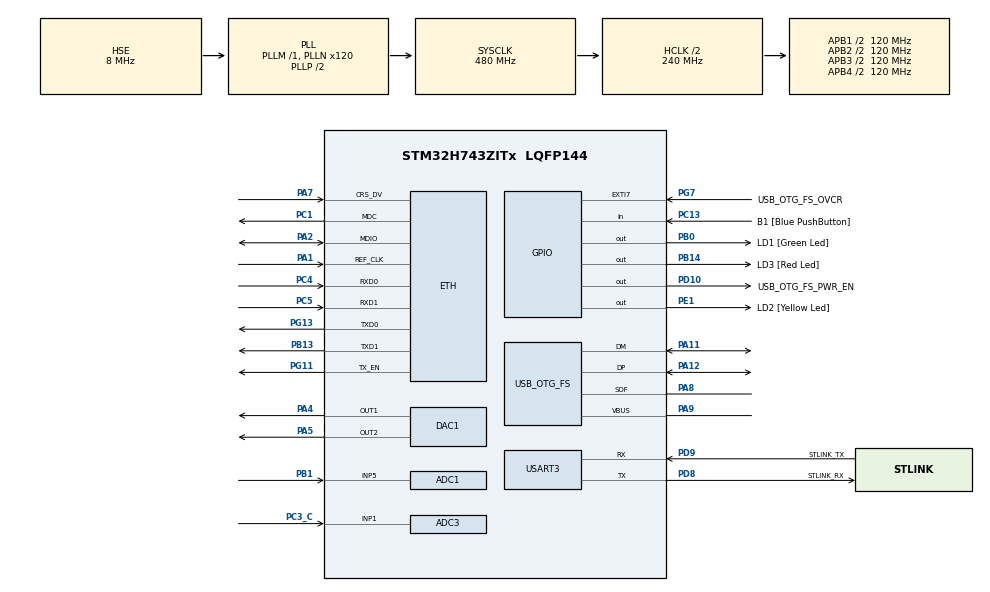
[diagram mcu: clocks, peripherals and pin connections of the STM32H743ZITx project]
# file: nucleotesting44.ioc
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ADC1.Channel-0\#ChannelRegularConversion=ADC_CHANNEL_5
ADC1.ClockPrescaler=ADC_CLOCK_ASYNC_DIV8
ADC1.ContinuousConvMode=ENABLE
ADC1.ConversionDataManagement=ADC_CONVERSIONDATA_DMA_CIRCULAR
ADC1.EnableAnalogWatchDog1=false
ADC1.EnableAnalogWatchDog2=false
ADC1.EnableAnalogWatchDog3=false
ADC1.ExternalTrigConv=ADC_EXTERNALTRIG_T1_TRGO2
ADC1.NbrOfConversion=1
ADC1.NbrOfConversionFlag=1
ADC1.OffsetNumber-0\#ChannelRegularConversion=ADC_OFFSET_NONE
ADC1.OffsetSignedSaturation-0\#ChannelRegularConversion=DISABLE
ADC1.Rank-0\#ChannelRegularConversion=1
ADC1.Resolution=ADC_RESOLUTION_16B
ADC1.SamplingTime-0\#ChannelRegularConversion=ADC_SAMPLETIME_1CYCLE_5
ADC1.master=1
ADC3.Channel-0\#ChannelRegularConversion=ADC_CHANNEL_1
ADC3.ClockPrescaler=ADC_CLOCK_ASYNC_DIV8
ADC3.ContinuousConvMode=ENABLE
ADC3.ConversionDataManagement=ADC_CONVERSIONDATA_DMA_CIRCULAR
ADC3.ExternalTrigConv=ADC_EXTERNALTRIG_T1_TRGO2
ADC3.NbrOfConversionFlag=1
ADC3.OffsetNumber-0\#ChannelRegularConversion=ADC_OFFSET_NONE
ADC3.OffsetSignedSaturation-0\#ChannelRegularConversion=DISABLE
ADC3.Rank-0\#ChannelRegularConversion=1
ADC3.SamplingTime-0\#ChannelRegularConversion=ADC_SAMPLETIME_1CYCLE_5
DAC1.DAC_Channel-DAC_OUT1=DAC_CHANNEL_1
DAC1.DAC_Channel-DAC_OUT2=DAC_CHANNEL_2
DAC1.DAC_Trigger-DAC_OUT1=DAC_TRIGGER_T2_TRGO
DAC1.DAC_Trigger-DAC_OUT2=DAC_TRIGGER_T2_TRGO
Dma.ADC1.0.Direction=DMA_PERIPH_TO_MEMORY
Dma.ADC1.0.EventEnable=ENABLE
Dma.ADC1.0.FIFOMode=DMA_FIFOMODE_DISABLE
Dma.ADC1.0.Instance=DMA1_Stream0
Dma.ADC1.0.MemDataAlignment=DMA_MDATAALIGN_HALFWORD
Dma.ADC1.0.MemInc=DMA_MINC_ENABLE
Dma.ADC1.0.Mode=DMA_CIRCULAR
Dma.ADC1.0.PeriphDataAlignment=DMA_PDATAALIGN_HALFWORD
Dma.ADC1.0.PeriphInc=DMA_PINC_DISABLE
Dma.ADC1.0.Polarity=HAL_DMAMUX_REQ_GEN_RISING
Dma.ADC1.0.Priority=DMA_PRIORITY_LOW
Dma.ADC1.0.RequestNumber=1
Dma.ADC1.0.SignalID=NONE
Dma.ADC1.0.SyncEnable=ENABLE
Dma.ADC1.0.SyncPolarity=HAL_DMAMUX_SYNC_RISING
Dma.ADC1.0.SyncRequestNumber=1
Dma.ADC1.0.SyncSignalID=NONE
Dma.ADC3.3.Direction=DMA_PERIPH_TO_MEMORY
Dma.ADC3.3.EventEnable=DISABLE
Dma.ADC3.3.FIFOMode=DMA_FIFOMODE_DISABLE
Dma.ADC3.3.Instance=DMA1_Stream1
Dma.ADC3.3.MemDataAlignment=DMA_MDATAALIGN_HALFWORD
Dma.ADC3.3.MemInc=DMA_MINC_ENABLE
Dma.ADC3.3.Mode=DMA_CIRCULAR
Dma.ADC3.3.PeriphDataAlignment=DMA_PDATAALIGN_HALFWORD
Dma.ADC3.3.PeriphInc=DMA_PINC_DISABLE
Dma.ADC3.3.Polarity=HAL_DMAMUX_REQ_GEN_RISING
Dma.ADC3.3.Priority=DMA_PRIORITY_LOW
Dma.ADC3.3.RequestNumber=1
Dma.ADC3.3.SignalID=NONE
Dma.ADC3.3.SyncEnable=ENABLE
Dma.ADC3.3.SyncPolarity=HAL_DMAMUX_SYNC_RISING
Dma.ADC3.3.SyncRequestNumber=1
Dma.ADC3.3.SyncSignalID=HAL_DMAMUX1_SYNC_DMAMUX1_CH0_EVT
Dma.DAC1_CH1.1.Direction=DMA_MEMORY_TO_PERIPH
Dma.DAC1_CH1.1.EventEnable=DISABLE
Dma.DAC1_CH1.1.FIFOMode=DMA_FIFOMODE_DISABLE
Dma.DAC1_CH1.1.Instance=DMA2_Stream0
Dma.DAC1_CH1.1.MemDataAlignment=DMA_MDATAALIGN_WORD
Dma.DAC1_CH1.1.MemInc=DMA_MINC_ENABLE
Dma.DAC1_CH1.1.Mode=DMA_CIRCULAR
Dma.DAC1_CH1.1.PeriphDataAlignment=DMA_PDATAALIGN_WORD
Dma.DAC1_CH1.1.PeriphInc=DMA_PINC_DISABLE
Dma.DAC1_CH1.1.Polarity=HAL_DMAMUX_REQ_GEN_RISING
Dma.DAC1_CH1.1.Priority=DMA_PRIORITY_HIGH
Dma.DAC1_CH1.1.RequestNumber=1
Dma.DAC1_CH1.1.SignalID=NONE
Dma.DAC1_CH1.1.SyncEnable=DISABLE
Dma.DAC1_CH1.1.SyncPolarity=HAL_DMAMUX_SYNC_NO_EVENT
Dma.DAC1_CH1.1.SyncRequestNumber=1
Dma.DAC1_CH1.1.SyncSignalID=NONE
Dma.DAC1_CH2.2.Direction=DMA_MEMORY_TO_PERIPH
Dma.DAC1_CH2.2.EventEnable=DISABLE
Dma.DAC1_CH2.2.FIFOMode=DMA_FIFOMODE_DISABLE
Dma.DAC1_CH2.2.Instance=DMA2_Stream1
Dma.DAC1_CH2.2.MemDataAlignment=DMA_MDATAALIGN_WORD
Dma.DAC1_CH2.2.MemInc=DMA_MINC_ENABLE
Dma.DAC1_CH2.2.Mode=DMA_CIRCULAR
Dma.DAC1_CH2.2.PeriphDataAlignment=DMA_PDATAALIGN_WORD
Dma.DAC1_CH2.2.PeriphInc=DMA_PINC_DISABLE
Dma.DAC1_CH2.2.Polarity=HAL_DMAMUX_REQ_GEN_RISING
Dma.DAC1_CH2.2.Priority=DMA_PRIORITY_HIGH
Dma.DAC1_CH2.2.RequestNumber=1
Dma.DAC1_CH2.2.SignalID=NONE
Dma.DAC1_CH2.2.SyncEnable=DISABLE
Dma.DAC1_CH2.2.SyncPolarity=HAL_DMAMUX_SYNC_NO_EVENT
Dma.DAC1_CH2.2.SyncRequestNumber=1
Dma.DAC1_CH2.2.SyncSignalID=NONE
Dma.Request0=ADC1
Dma.Request1=DAC1_CH1
Dma.Request2=DAC1_CH2
Dma.Request3=ADC3
ETH.MediaInterface=HAL_ETH_RMII_MODE
Mcu.Family=STM32H7
Mcu.Name=STM32H743ZITx
Mcu.Package=LQFP144
NVIC.DMA1_Stream0_IRQn=true\:0\:0\:false\:false\:true\:false\:true
NVIC.DMA1_Stream1_IRQn=true\:0\:0\:false\:false\:true\:false\:true
NVIC.DMA2_Stream0_IRQn=true\:0\:0\:false\:false\:true\:false\:true
NVIC.DMA2_Stream1_IRQn=true\:0\:0\:false\:false\:true\:false\:true
NVIC.DMAMUX1_OVR_IRQn=true\:0\:0\:false\:false\:true\:false\:true
NVIC.OTG_FS_IRQn=true\:0\:0\:false\:false\:true\:false\:true
NVIC.PriorityGroup=NVIC_PRIORITYGROUP_4
PA1.Mode=RMII
PA1.Signal=ETH_REF_CLK
PA11.Mode=Device_Only
PA11.Signal=USB_OTG_FS_DM
PA12.Mode=Device_Only
PA12.Signal=USB_OTG_FS_DP
PA2.Mode=RMII
PA2.Signal=ETH_MDIO
PA4.Signal=COMP_DAC11_group
PA5.Signal=COMP_DAC12_group
PA7.Mode=RMII
PA7.Signal=ETH_CRS_DV
PA8.Mode=Activate_SOF_FS
PA8.Signal=USB_OTG_FS_SOF
PA9.Mode=Activate_VBUS
PA9.Signal=USB_OTG_FS_VBUS
PB0.GPIO_Label=LD1 [Green Led]
PB0.Signal=GPIO_Output
PB1.Signal=ADCx_INP5
PB13.Mode=RMII
PB13.Signal=ETH_TXD1
PB14.GPIO_Label=LD3 [Red Led]
PB14.Signal=GPIO_Output
PC1.Mode=RMII
PC1.Signal=ETH_MDC
PC13.GPIO_Label=B1 [Blue PushButton]
PC13.Signal=GPIO_Input
PC14-OSC32_IN\ (OSC32_IN).Mode=LSE-External-Oscillator
PC14-OSC32_IN\ (OSC32_IN).Signal=RCC_OSC32_IN
PC15-OSC32_OUT\ (OSC32_OUT).Mode=LSE-External-Oscillator
PC15-OSC32_OUT\ (OSC32_OUT).Signal=RCC_OSC32_OUT
PC3_C.Mode=IN1-Single-Ended
PC3_C.Signal=ADC3_INP1
PC4.Mode=RMII
PC4.Signal=ETH_RXD0
PC5.Mode=RMII
PC5.Signal=ETH_RXD1
PD10.GPIO_Label=USB_OTG_FS_PWR_EN
PD10.Signal=GPIO_Output
PD8.GPIO_Label=STLINK_RX
PD8.Mode=Asynchronous
PD8.Signal=USART3_TX
PD9.GPIO_Label=STLINK_TX
PD9.Mode=Asynchronous
PD9.Signal=USART3_RX
PE1.GPIO_Label=LD2 [Yellow Led]
PE1.Signal=GPIO_Output
PG11.Mode=RMII
PG11.Signal=ETH_TX_EN
PG13.Mode=RMII
PG13.Signal=ETH_TXD0
PG7.GPIO_Label=USB_OTG_FS_OVCR
PG7.Signal=GPXTI7
PH0-OSC_IN\ (PH0).Mode=HSE-External-Clock-Source
PH0-OSC_IN\ (PH0).Signal=RCC_OSC_IN
PH1-OSC_OUT\ (PH1).Signal=RCC_OSC_OUT
ProjectManager.HeapSize=0x200
ProjectManager.StackSize=0x400
ProjectManager.TargetToolchain=STM32CubeIDE
RCC.ADCFreq_Value=50000000
RCC.APB1Freq_Value=120000000
RCC.APB2Freq_Value=120000000
RCC.APB3Freq_Value=120000000
RCC.APB4Freq_Value=120000000
RCC.CortexFreq_Value=480000000
RCC.D1PPRE=RCC_APB3_DIV2
RCC.D2PPRE1=RCC_APB1_DIV2
RCC.D2PPRE2=RCC_APB2_DIV2
RCC.D3PPRE=RCC_APB4_DIV2
RCC.DIVM1=1
RCC.DIVM2=1
RCC.DIVN1=120
RCC.DIVN2=18
RCC.DIVP2=3
RCC.DIVQ1=20
RCC.HCLKFreq_Value=240000000
RCC.HPRE=RCC_HCLK_DIV2
RCC.HSE_VALUE=8000000
RCC.PLL2FRACN=6144
RCC.PLL3FRACN=0
RCC.PLLFRACN=0
RCC.PWR_Regulator_Voltage_Scale=PWR_REGULATOR_VOLTAGE_SCALE0
RCC.SYSCLKFreq_VALUE=480000000
RCC.SYSCLKSource=RCC_SYSCLKSOURCE_PLLCLK
RCC.USBFreq_Value=48000000
SH.ADCx_INP5.0=ADC1_INP5,IN5-Single-Ended
SH.COMP_DAC11_group.0=DAC1_OUT1,DAC_OUT1
SH.COMP_DAC12_group.0=DAC1_OUT2,DAC_OUT2
TIM1.Period=770
TIM1.Prescaler=0
TIM1.TIM_MasterOutputTrigger=TIM_TRGO_UPDATE
TIM1.TIM_MasterOutputTrigger2=TIM_TRGO2_UPDATE
TIM2.Period=770
TIM2.TIM_MasterOutputTrigger=TIM_TRGO_UPDATE
USART3.VirtualMode-Asynchronous=VM_ASYNC
USB_DEVICE.CLASS_NAME_FS=CDC
USB_DEVICE.USBD_DEBUG_LEVEL-CDC_FS=0
USB_DEVICE.VirtualMode-CDC_FS=Cdc
USB_DEVICE.VirtualModeFS=Cdc_FS
USB_OTG_FS.VirtualMode=Device_Only
VP_TIM1_VS_ClockSourceINT.Mode=Internal
VP_TIM2_VS_ClockSourceINT.Mode=Internal
VP_USB_DEVICE_VS_USB_DEVICE_CDC_FS.Mode=CDC_FS
board=NUCLEO-H743ZI2

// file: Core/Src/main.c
/* USER CODE BEGIN Header */
/**
  ******************************************************************************
  * @file           : main.c
  * @brief          : Main program body
  ******************************************************************************
  * @attention
  *
  * <h2><center>&copy; Copyright (c) 2021 STMicroelectronics.
  * All rights reserved.</center></h2>
  *
  * This software component is licensed by ST under BSD 3-Clause license,
  * the "License"; You may not use this file except in compliance with the
  * License. You may obtain a copy of the License at:
  *                        opensource.org/licenses/BSD-3-Clause
  *
  ******************************************************************************
  */
/* USER CODE END Header */
#include "main.h"
#include "string.h"
#include "usb_device.h"

/* USER CODE BEGIN Includes */
#define ADC_CONVERTED_DATA_BUFFER_SIZE   ((uint32_t)  32767)
#define TEST_LENGTH_SAMPLES ((uint32_t) 2048)
#define BUF_SIZE 4096
#define UINT16_OFFSET 32768
#define SHORT_MAX 32767
#define FFT_SIZE 2048
#define SAMPLERATE 312500
#define DECIMATION_FACTOR 3

#define SNR_THRESHOLD_F32    75.0f
#define BLOCK_SIZE            64
#if defined(ARM_MATH_MVEF) && !defined(ARM_MATH_AUTOVECTORIZE)
/* Must be a multiple of 16 */
#define NUM_TAPS_ARRAY_SIZE              32
#else
#define NUM_TAPS_ARRAY_SIZE              61
#endif
#define NUM_TAPS              60

#include "math.h"
#include "usbd_cdc_if.h"
#include "complex.h"
#include "arm_math.h"
#include "arm_const_structs.h"

#include "../../Drivers/gnu-ais/callbacks.h"
#include "../../Drivers/gnu-ais/filter.h"
#include "../../Drivers/gnu-ais/hmalloc.h"
#include "../../Drivers/gnu-ais/protodec.h"
#include "../../Drivers/gnu-ais/receiver.h"

/* USER CODE END Includes */

#if defined ( __ICCARM__ ) /*!< IAR Compiler */

#pragma location=0x30040000
ETH_DMADescTypeDef  DMARxDscrTab[ETH_RX_DESC_CNT]; /* Ethernet Rx DMA Descriptors */
#pragma location=0x30040060
ETH_DMADescTypeDef  DMATxDscrTab[ETH_TX_DESC_CNT]; /* Ethernet Tx DMA Descriptors */
#pragma location=0x300400c0
uint8_t Rx_Buff[ETH_RX_DESC_CNT][ETH_MAX_PACKET_SIZE]; /* Ethernet Receive Buffers */

#elif defined ( __CC_ARM )  /* MDK ARM Compiler */

__attribute__((at(0x30040000))) ETH_DMADescTypeDef  DMARxDscrTab[ETH_RX_DESC_CNT]; /* Ethernet Rx DMA Descriptors */
__attribute__((at(0x30040060))) ETH_DMADescTypeDef  DMATxDscrTab[ETH_TX_DESC_CNT]; /* Ethernet Tx DMA Descriptors */
__attribute__((at(0x300400c0))) uint8_t Rx_Buff[ETH_RX_DESC_CNT][ETH_MAX_PACKET_SIZE]; /* Ethernet Receive Buffer */

#elif defined ( __GNUC__ ) /* GNU Compiler */

ETH_DMADescTypeDef DMARxDscrTab[ETH_RX_DESC_CNT] __attribute__((section(".RxDecripSection"))); /* Ethernet Rx DMA Descriptors */
ETH_DMADescTypeDef DMATxDscrTab[ETH_TX_DESC_CNT] __attribute__((section(".TxDecripSection")));   /* Ethernet Tx DMA Descriptors */
uint8_t Rx_Buff[ETH_RX_DESC_CNT][ETH_MAX_PACKET_SIZE] __attribute__((section(".RxArraySection"))); /* Ethernet Receive Buffers */

#endif

ETH_TxPacketConfig TxConfig;
ADC_HandleTypeDef hadc1;
ADC_HandleTypeDef hadc3;
DMA_HandleTypeDef hdma_adc1;
DMA_HandleTypeDef hdma_adc3;

DAC_HandleTypeDef hdac1;
DMA_HandleTypeDef hdma_dac1_ch1;
DMA_HandleTypeDef hdma_dac1_ch2;

ETH_HandleTypeDef heth;

TIM_HandleTypeDef htim1;
TIM_HandleTypeDef htim2;

UART_HandleTypeDef huart3;

/* USER CODE BEGIN PV */
ALIGN_32BYTES (static uint16_t   aADC1ConvertedData[ADC_CONVERTED_DATA_BUFFER_SIZE]);
ALIGN_32BYTES (static uint16_t   aADC3ConvertedData[ADC_CONVERTED_DATA_BUFFER_SIZE]);
ALIGN_32BYTES (static int16_t 	 adc1_data[ADC_CONVERTED_DATA_BUFFER_SIZE]); //I signal
ALIGN_32BYTES (static int16_t 	 adc3_data[ADC_CONVERTED_DATA_BUFFER_SIZE]); //Q signal
ALIGN_32BYTES (static int16_t 	 adc1_datafir[ADC_CONVERTED_DATA_BUFFER_SIZE]); //I signal
ALIGN_32BYTES (static int16_t	 adc3_datafir[ADC_CONVERTED_DATA_BUFFER_SIZE]); //Q signal

static struct receiver *rx_a = NULL;
/* USER CODE END PV */

void SystemClock_Config(void);
void PeriphCommonClock_Config(void);
static void MX_GPIO_Init(void);
static void MX_ETH_Init(void);
static void MX_DMA_Init(void);
static void MX_ADC1_Init(void);
static void MX_DAC1_Init(void);
static void MX_TIM1_Init(void);
static void MX_ADC3_Init(void);
static void MX_USART3_UART_Init(void);
static void MX_TIM2_Init(void);

/* USER CODE BEGIN 0 */

char *data = "Hello world\n"; //a must have

char buffer[64];

static q31_t testOutput[FFT_SIZE*2];

uint32_t fftSize = FFT_SIZE;
uint32_t ifftFlag = 0;		// regular FFT
uint32_t doBitReverse = 1;  // reverse bit to output.

uint32_t refIndex = 213, testIndex = 0;

//extern uint16_t mysine[1500]; //sine signal for testing

//extern uint32_t myAISIdac[1500]; //AIS I signal for dac channel 1
//extern uint32_t myAISQdac[1500]; //AIS Q signal for dac channel 2
extern uint32_t realdataI[3000]; //AIS I signal for dac channel 1
extern uint32_t realdataQ[3000]; //AIS Q signal for dac channel 2
/* extern uint16_t myAISI[1290];	//AIS signal for testing
   extern uint16_t myAISQ[1290];	//AIS signal for testing
*/
float64_t temp_I = 0;
float64_t temp_Q = 0;

static complex complex_data;
static complex prev_complex;
static complex temp_complex;
static int16_t demodulated_IQ[ADC_CONVERTED_DATA_BUFFER_SIZE];

uint32_t prim;
q31_t maxValue;

uint32_t blockSize = BLOCK_SIZE;
uint32_t numBlocks = ADC_CONVERTED_DATA_BUFFER_SIZE/BLOCK_SIZE/2;
float32_t  snr;

//fir stuff

extern q15_t firCoeff025[NUM_TAPS_ARRAY_SIZE];
extern q15_t firCoeff001[NUM_TAPS_ARRAY_SIZE];
extern q15_t firCoeffhighpass[NUM_TAPS_ARRAY_SIZE];

static q15_t firState1[BLOCK_SIZE + NUM_TAPS - 0];
static q15_t firState2[BLOCK_SIZE + NUM_TAPS - 0];
static q15_t firState3[BLOCK_SIZE + NUM_TAPS - 0];

arm_fir_instance_q15 firS;
arm_fir_instance_q15 firS2;
arm_fir_instance_q15 firS3;

float32_t  *firInput, *firOutput;

/* USER CODE END 0 */

int main(void)
{
  /* USER CODE BEGIN 1 */

	//arm_status status;
	//status = ARM_MATH_SUCCESS;

  /* USER CODE END 1 */

  /* MCU Configuration--------------------------------------------------------*/

  /* Reset of all peripherals, Initializes the Flash interface and the Systick. */
  HAL_Init();

  /* Configure the system clock */
  SystemClock_Config();

/* Configure the peripherals common clocks */
  PeriphCommonClock_Config();

  /* Initialize all configured peripherals */
  MX_GPIO_Init();
  MX_ETH_Init();
  MX_DMA_Init();
  MX_ADC1_Init();
  MX_DAC1_Init();
  MX_TIM1_Init();
  MX_ADC3_Init();
  MX_USART3_UART_Init();
  MX_USB_DEVICE_Init();
  MX_TIM2_Init();
  /* USER CODE BEGIN 2 */

  float32_t radians;
  float32_t sineval;
  uint16_t startflag1;
  uint16_t endflag1;
  int16_t meanvalue1;
  int16_t meanvalue3;
  int16_t temporary_value = 3000;
  int16_t decimate;
  int32_t mix_freq;
  rx_a = init_receiver('A', 1, 0, 0); // initialize receiver

  char stringBuf[100];
  q31_t data_Buffer[FFT_SIZE*2] = {0};
  arm_fir_init_q15(&firS, NUM_TAPS, firCoeff025, firState1, blockSize);
  arm_fir_init_q15(&firS2, NUM_TAPS, firCoeff001, firState2, blockSize);
  arm_fir_init_q15(&firS3, NUM_TAPS, firCoeffhighpass, firState3, blockSize);

  // start ADCs. Saves data to aADCxConvertedData

	  if (HAL_ADC_Start_DMA(&hadc1,
	                          (uint32_t *)aADC1ConvertedData,
	                          ADC_CONVERTED_DATA_BUFFER_SIZE
	                         ) != HAL_OK)
	    {
	      Error_Handler(); //does nothing-> TODO: error handler
	    }
	  if (HAL_ADC_Start_DMA(&hadc3,
	                        (uint32_t *)aADC3ConvertedData,
	                        ADC_CONVERTED_DATA_BUFFER_SIZE
	                       ) != HAL_OK)
	  {
	    Error_Handler(); //does nothing-> TODO: error handler
	  }

	  HAL_TIM_Base_Start(&htim1);

	  // start DACs. Takes 12b data, does not like 16b :( .

	  if (HAL_DAC_Start_DMA(&hdac1,
			  	  	    DAC_CHANNEL_2,
						    //(uint32_t *)aADCxConvertedData,
							//ADC_CONVERTED_DATA_BUFFER_SIZE/2,
							(uint32_t *)realdataI,
							6000,
							DAC_ALIGN_12B_R)
			  	  	    != HAL_OK)
	  {
		  Error_Handler();
	  }
	  if (HAL_DAC_Start_DMA(&hdac1,
			  	  	    DAC_CHANNEL_1,
						    //(uint32_t *)aADCxConvertedData,
							//ADC_CONVERTED_DATA_BUFFER_SIZE/2,
							(uint32_t *)realdataQ,
							6000,
							DAC_ALIGN_12B_R)
			  	  	    != HAL_OK)
	  {
		  Error_Handler();
	  }

	  HAL_TIM_Base_Start(&htim2);
	  HAL_Delay(1000);
  /* USER CODE END 2 */

  /* Infinite loop */
  while (1)
  {

    /* USER CODE BEGIN 3 */

	  memset(stringBuf, '\0', 100);
	  memset(data_Buffer, 0, FFT_SIZE*sizeof(q31_t)*2);
	  memset(testOutput, 0, FFT_SIZE*sizeof(q31_t)*2);
	  prev_complex = 0;
	  complex_data = 0;
	  temp_complex = 0;
	  temp_I = 0;
	  temp_Q = 0;
	  startflag1 = 150;
	  endflag1 = 3000;
	  meanvalue1 = 0;
	  meanvalue3 = 0;
	  mix_freq = 0;
	  prim = __get_PRIMASK();
	  __disable_irq();

	  // cast uint16->int16

	  for(uint16_t i = 1; i<ADC_CONVERTED_DATA_BUFFER_SIZE; i++){
		  adc1_data[i] = swap_bytes(adc1_data[i]);
		  //adc1_data[i] = (realdataI[i] - 2048) * 16;
		  //adc1_data[i] = realdataI[i];
		  //adc3_data[i] = realdataQ[i];
		  adc3_data[i] = swap_bytes(adc3_data[i]);
		  //adc3_data[i] = (realdataQ[i] - 2048) * 16;
	  }
	  //remove zero spike

	  arm_mean_q15 (adc1_data, ADC_CONVERTED_DATA_BUFFER_SIZE, &meanvalue1);
	  //arm_mean_q15 (adc1_data, temporary_value, &meanvalue1);
	  arm_mean_q15 (adc3_data, ADC_CONVERTED_DATA_BUFFER_SIZE, &meanvalue3);
	  //arm_mean_q15 (adc3_data, temporary_value, &meanvalue3);

	  //for(uint16_t i =0;i<temporary_value;i++){
	  for(uint16_t i =0; i< ADC_CONVERTED_DATA_BUFFER_SIZE; i++){
			  adc1_data[i] -= meanvalue1;
			  adc1_data[i] *= 16; //multiply with arbitrary value
			  adc3_data[i] -= meanvalue3;
			  adc3_data[i] *= 16;
	  }

	  // find peak frequency
	  for(uint16_t i = 0; i<ADC_CONVERTED_DATA_BUFFER_SIZE; i+=FFT_SIZE*2){
		  //for(uint16_t i = 0; i<temporary_value; i+=FFT_SIZE*2){

		  //save data to buffer, use 32bit values shifted left 16 bits because that helps.
		  for(uint16_t j = 0; j < FFT_SIZE*2; j++){
			  data_Buffer[j] = (adc1_data[i+j]<<16);// - UINT16_OFFSET )/(UINT16_OFFSET);
			  j++;
			  data_Buffer[j] = (adc3_data[i+j]<<16); //data_Buffer[j] = (adc3_data[i+j]<<16);// - UINT16_OFFSET )/(UINT16_OFFSET);
		  }

		  //fft from buffered data
		  arm_cfft_q31(&arm_cfft_sR_q31_len2048, data_Buffer, ifftFlag, doBitReverse);
		  arm_cmplx_mag_q31(data_Buffer, testOutput, FFT_SIZE);

		  //max value and index of said max value
		  arm_max_q31(testOutput, fftSize, &maxValue, &testIndex);

		  //calculate peak freq
		  if(testIndex > FFT_SIZE/2){ //on right plane ->  get negative value
			  mix_freq = (int32_t)(testIndex * ((SAMPLERATE/2) / FFT_SIZE) % (SAMPLERATE/2)) - SAMPLERATE/2;
		  }else{ //on left plane
			  mix_freq = testIndex * (SAMPLERATE/2) / FFT_SIZE;
		  }

		  //peak expected around 25 kHz, check if mix_freq has valid value.
		  if((mix_freq < 90000 && mix_freq >20000 ) || (mix_freq >-90000 && mix_freq < -20000)){
			  break;
		  }else{
			  mix_freq = 0;
			  memset(testOutput, 0, FFT_SIZE*sizeof(q31_t)*2);
		  }
	  }
	  //downmixing

	  if(mix_freq != 0){

		  //smix_freq=-54253;
	    for(uint16_t i = 0; i<ADC_CONVERTED_DATA_BUFFER_SIZE; i++){
			  radians = ((mix_freq/((float32_t)SAMPLERATE)) *2*M_PI*i);
			  sineval = arm_sin_f32(radians); 		//move to positive values only
			  adc1_data[i] =(adc1_data[i])*sineval; //adc1_data[i] =(adc1_data[i])*sineval; //-UINT16_OFFSET)*sineval + UINT16_OFFSET;
			  adc3_data[i] =(adc3_data[i])*sineval; //adc3_data[i] =(adc3_data[i])*sineval; //-UINT16_OFFSET)*sineval + UINT16_OFFSET;
		  }
	  }
	  //lowpass
	  for(int i=0; i < numBlocks; i++)
	  {
		  arm_fir_q15(&firS, adc1_data+i*blockSize, adc1_datafir+i*blockSize, blockSize);//arm_fir_q15(&firS, adc1_data+i*blockSize, adc1_datafir+i*blockSize, blockSize);
	  }
	  for(int i=0; i < numBlocks; i++)
	  {
		  arm_fir_q15(&firS, adc3_data+i*blockSize, adc3_datafir+i*blockSize, blockSize);//arm_fir_q15(&firS, adc3_data+i*blockSize, adc3_datafir+i*blockSize, blockSize);
	  }

	  // demodulate signal in adc1_datafir and adc3_datafir, saved to demodulated_IQ
	  gmsk_demod(0, ADC_CONVERTED_DATA_BUFFER_SIZE, demodulated_IQ);
	  // gmsk_demod(0, temporary_value, demodulated_IQ);
	  // last filtering with 0.1 lowpass
	  for(int i=0; i < numBlocks; i++){
		  arm_fir_q15(&firS2, demodulated_IQ+i*blockSize, adc1_data+i*blockSize, blockSize);
	  }

	  demodulated_IQ[0]=0;

	  // get better data with log function
	  /*for(int i = 0; i<ADC_CONVERTED_DATA_BUFFER_SIZE; i++){
	  // for(int i = 0; i<temporary_value; i++){
		  	  if(adc1_data[i]<0){
				  adc1_data[i] = -1*log(abs(adc1_data[i])-1)*500;
		  	  }else{
				  adc1_data[i] = log(abs(adc1_data[i])-1)*500;
		  	  }

	  }*/
	  for(int i = 0; i<ADC_CONVERTED_DATA_BUFFER_SIZE/DECIMATION_FACTOR; i++){
		      adc1_data[i]=adc1_data[i*DECIMATION_FACTOR];
	  }
	  //receiver_run(rx_a, adc1_data, temporary_value);
	  for(int i = 0; i<ADC_CONVERTED_DATA_BUFFER_SIZE/DECIMATION_FACTOR; i+=1000){
		  	  receiver_run(rx_a, adc1_data+i*sizeof(int16_t), 1000);
	  }
	  //receiver_run(rx_a, adc1_data, 3000);

	  // from example arm_fft_bin.example.c:
	  /* Process the data through the CFFT/CIFFT module */
	  /*arm_cfft_f32(&arm_cfft_sR_f32_len2048, data_Buffer, ifftFlag, doBitReverse);
	  arm_cmplx_mag_f32(data_Buffer, testOutput, FFT_SIZE);
	  arm_max_f32(testOutput, fftSize, &maxValue, &testIndex);*/

	  //arm_rfft_fast_f32(&instance, data_Buffer, testOutput, 0);

	  // MATLAB compatible data transfer. Transfer as characters, MATLAB reads as correct data length.:
	  data = "flag data:\n";
	  HAL_UART_Transmit(&huart3, (uint8_t *)data, strlen(data), HAL_MAX_DELAY);
	  sprintf(stringBuf, "%d\n", startflag1 );
	  HAL_UART_Transmit(&huart3,  (uint8_t *)stringBuf, strlen(stringBuf), HAL_MAX_DELAY);
	  sprintf(stringBuf, "%d\n", endflag1 );
	  HAL_UART_Transmit(&huart3,  (uint8_t *)stringBuf, strlen(stringBuf), HAL_MAX_DELAY);
      data = "flag data end:\n";
	  HAL_UART_Transmit(&huart3, (uint8_t *)data, strlen(data), HAL_MAX_DELAY);

      data = "demod data:\n";
	  HAL_UART_Transmit(&huart3, (uint8_t *)data, strlen(data), HAL_MAX_DELAY);

	  //HAL_UART_Transmit(&huart3, (uint8_t *) demodulated_IQ,
	  	//		  	  1290*2, HAL_MAX_DELAY);
	  HAL_UART_Transmit(&huart3, (uint8_t *) adc1_data,
			  (ADC_CONVERTED_DATA_BUFFER_SIZE)/DECIMATION_FACTOR, HAL_MAX_DELAY);

	  data = "demod data end:\n";
	  HAL_UART_Transmit(&huart3, (uint8_t *)data, strlen(data), HAL_MAX_DELAY);

	  //transmit NMEA
	  sprintf(stringBuf, "freq: %ld, pre: %ld, start: %ld, rx_a PLL decoded data in NMEA format: %s \n",
			  mix_freq, rx_a->decoder->npreamble,rx_a->decoder->startsample,rx_a->decoder->nmea );
	  HAL_UART_Transmit(&huart3, (uint8_t *)stringBuf, strlen(stringBuf), HAL_MAX_DELAY);

	  //transmit FFT
	  /*data = "FFT data:\n";
	  HAL_UART_Transmit(&huart3, (uint8_t *)data, strlen(data), HAL_MAX_DELAY);

	  HAL_UART_Transmit(&huart3, (uint8_t *) testOutput,
			  	  	  	  FFT_SIZE*sizeof(q31_t), HAL_MAX_DELAY);

	  data = "FFT data end.\n";
	  HAL_UART_Transmit(&huart3, (uint8_t *)data, strlen(data), HAL_MAX_DELAY);
*/
	  //Transfer ADC data:
/*
	  data = "ADC1 data:\n";
	  HAL_UART_Transmit(&huart3, (uint8_t *)data, strlen(data), HAL_MAX_DELAY);

	  HAL_UART_Transmit(&huart3, (uint8_t *) adc1_datafir,
			  (ADC_CONVERTED_DATA_BUFFER_SIZE)/2, HAL_MAX_DELAY);
	  data = "ADC1 data end.\n";
	  HAL_UART_Transmit(&huart3, (uint8_t *)data, strlen(data), HAL_MAX_DELAY);

	  data = "ADC3 data:\n";
	  HAL_UART_Transmit(&huart3, (uint8_t *)data, strlen(data), HAL_MAX_DELAY);

	  HAL_UART_Transmit(&huart3, (uint8_t *) adc3_datafir,
			  (ADC_CONVERTED_DATA_BUFFER_SIZE)/2, HAL_MAX_DELAY);
	  data = "ADC3 data end.\n";
	  HAL_UART_Transmit(&huart3, (uint8_t *)data, strlen(data), HAL_MAX_DELAY);
*/
	  //delay because why not
	  //HAL_Delay(1000);
	  memset(demodulated_IQ, 0, ADC_CONVERTED_DATA_BUFFER_SIZE*sizeof(int16_t));

	  memset(rx_a->decoder->nmea, '\0', NMEABUFFER_LEN);
	  memset(&(rx_a->decoder->nstartsign), 0, sizeof(rx_a->decoder->nstartsign));
	  memset(&(rx_a->decoder->npreamble), 0, sizeof(rx_a->decoder->npreamble));
	  memset(&(rx_a->decoder->startsample), 0, sizeof(rx_a->decoder->startsample));
	  __enable_irq();

  }
  /* USER CODE END 3 */
}

void SystemClock_Config(void)
{
  RCC_OscInitTypeDef RCC_OscInitStruct = {0};
  RCC_ClkInitTypeDef RCC_ClkInitStruct = {0};

  /** Supply configuration update enable
  */
  HAL_PWREx_ConfigSupply(PWR_LDO_SUPPLY);
  /** Configure the main internal regulator output voltage
  */
  __HAL_PWR_VOLTAGESCALING_CONFIG(PWR_REGULATOR_VOLTAGE_SCALE0);

  while(!__HAL_PWR_GET_FLAG(PWR_FLAG_VOSRDY)) {}
  /** Macro to configure the PLL clock source
  */
  __HAL_RCC_PLL_PLLSOURCE_CONFIG(RCC_PLLSOURCE_HSE);
  /** Initializes the RCC Oscillators according to the specified parameters
  * in the RCC_OscInitTypeDef structure.
  */
  RCC_OscInitStruct.OscillatorType = RCC_OSCILLATORTYPE_HSE;
  RCC_OscInitStruct.HSEState = RCC_HSE_BYPASS;
  RCC_OscInitStruct.PLL.PLLState = RCC_PLL_ON;
  RCC_OscInitStruct.PLL.PLLSource = RCC_PLLSOURCE_HSE;
  RCC_OscInitStruct.PLL.PLLM = 1;
  RCC_OscInitStruct.PLL.PLLN = 120;
  RCC_OscInitStruct.PLL.PLLP = 2;
  RCC_OscInitStruct.PLL.PLLQ = 20;
  RCC_OscInitStruct.PLL.PLLR = 2;
  RCC_OscInitStruct.PLL.PLLRGE = RCC_PLL1VCIRANGE_3;
  RCC_OscInitStruct.PLL.PLLVCOSEL = RCC_PLL1VCOWIDE;
  RCC_OscInitStruct.PLL.PLLFRACN = 0;
  if (HAL_RCC_OscConfig(&RCC_OscInitStruct) != HAL_OK)
  {
    Error_Handler();
  }
  /** Initializes the CPU, AHB and APB buses clocks
  */
  RCC_ClkInitStruct.ClockType = RCC_CLOCKTYPE_HCLK|RCC_CLOCKTYPE_SYSCLK
                              |RCC_CLOCKTYPE_PCLK1|RCC_CLOCKTYPE_PCLK2
                              |RCC_CLOCKTYPE_D3PCLK1|RCC_CLOCKTYPE_D1PCLK1;
  RCC_ClkInitStruct.SYSCLKSource = RCC_SYSCLKSOURCE_PLLCLK;
  RCC_ClkInitStruct.SYSCLKDivider = RCC_SYSCLK_DIV1;
  RCC_ClkInitStruct.AHBCLKDivider = RCC_HCLK_DIV2;
  RCC_ClkInitStruct.APB3CLKDivider = RCC_APB3_DIV2;
  RCC_ClkInitStruct.APB1CLKDivider = RCC_APB1_DIV2;
  RCC_ClkInitStruct.APB2CLKDivider = RCC_APB2_DIV2;
  RCC_ClkInitStruct.APB4CLKDivider = RCC_APB4_DIV2;

  if (HAL_RCC_ClockConfig(&RCC_ClkInitStruct, FLASH_LATENCY_4) != HAL_OK)
  {
    Error_Handler();
  }
}

void PeriphCommonClock_Config(void)
{
  RCC_PeriphCLKInitTypeDef PeriphClkInitStruct = {0};

  /** Initializes the peripherals clock
  */
  PeriphClkInitStruct.PeriphClockSelection = RCC_PERIPHCLK_ADC;
  PeriphClkInitStruct.PLL2.PLL2M = 1;
  PeriphClkInitStruct.PLL2.PLL2N = 18;
  PeriphClkInitStruct.PLL2.PLL2P = 3;
  PeriphClkInitStruct.PLL2.PLL2Q = 2;
  PeriphClkInitStruct.PLL2.PLL2R = 2;
  PeriphClkInitStruct.PLL2.PLL2RGE = RCC_PLL2VCIRANGE_3;
  PeriphClkInitStruct.PLL2.PLL2VCOSEL = RCC_PLL2VCOMEDIUM;
  PeriphClkInitStruct.PLL2.PLL2FRACN = 6144;
  PeriphClkInitStruct.AdcClockSelection = RCC_ADCCLKSOURCE_PLL2;
  if (HAL_RCCEx_PeriphCLKConfig(&PeriphClkInitStruct) != HAL_OK)
  {
    Error_Handler();
  }
}

static void MX_ADC1_Init(void)
{

  ADC_MultiModeTypeDef multimode = {0};
  ADC_ChannelConfTypeDef sConfig = {0};

  /* USER CODE BEGIN ADC1_Init 1 */
  // f = 50 MHz
  // Samplerate = f/(ClockPrescaler*(SamplingTime+Resolution/2+0.5))/2
  // atm samplerate = 312500Hz, it good resolution upto +-150 kHz
  /* USER CODE END ADC1_Init 1 */
  /** Common config
  */
  hadc1.Instance = ADC1;
  hadc1.Init.ClockPrescaler = ADC_CLOCK_ASYNC_DIV8;
  hadc1.Init.Resolution = ADC_RESOLUTION_16B;
  hadc1.Init.ScanConvMode = ADC_SCAN_DISABLE;
  hadc1.Init.EOCSelection = ADC_EOC_SINGLE_CONV;
  hadc1.Init.LowPowerAutoWait = DISABLE;
  hadc1.Init.ContinuousConvMode = ENABLE;
  hadc1.Init.NbrOfConversion = 1;
  hadc1.Init.DiscontinuousConvMode = DISABLE;
  hadc1.Init.ExternalTrigConv = ADC_EXTERNALTRIG_T1_TRGO2;
  hadc1.Init.ExternalTrigConvEdge = ADC_EXTERNALTRIGCONVEDGE_RISING;
  hadc1.Init.ConversionDataManagement = ADC_CONVERSIONDATA_DMA_CIRCULAR;
  hadc1.Init.Overrun = ADC_OVR_DATA_PRESERVED;
  hadc1.Init.LeftBitShift = ADC_LEFTBITSHIFT_NONE;
  hadc1.Init.OversamplingMode = DISABLE;
  if (HAL_ADC_Init(&hadc1) != HAL_OK)
  {
    Error_Handler();
  }
  /** Configure the ADC multi-mode
  */
  multimode.Mode = ADC_MODE_INDEPENDENT;
  if (HAL_ADCEx_MultiModeConfigChannel(&hadc1, &multimode) != HAL_OK)
  {
    Error_Handler();
  }
  /** Configure Regular Channel
  */
  sConfig.Channel = ADC_CHANNEL_5;
  sConfig.Rank = ADC_REGULAR_RANK_1;
  sConfig.SamplingTime = ADC_SAMPLETIME_1CYCLE_5;
  sConfig.SingleDiff = ADC_SINGLE_ENDED;
  sConfig.OffsetNumber = ADC_OFFSET_NONE;
  sConfig.Offset = 0;
  sConfig.OffsetSignedSaturation = DISABLE;
  if (HAL_ADC_ConfigChannel(&hadc1, &sConfig) != HAL_OK)
  {
    Error_Handler();
  }

}

static void MX_ADC3_Init(void)
{

  ADC_ChannelConfTypeDef sConfig = {0};

  /** Common config
  */
  hadc3.Instance = ADC3;
  hadc3.Init.ClockPrescaler = ADC_CLOCK_ASYNC_DIV8;
  hadc3.Init.Resolution = ADC_RESOLUTION_16B;
  hadc3.Init.ScanConvMode = ADC_SCAN_DISABLE;
  hadc3.Init.EOCSelection = ADC_EOC_SINGLE_CONV;
  hadc3.Init.LowPowerAutoWait = DISABLE;
  hadc3.Init.ContinuousConvMode = ENABLE;
  hadc3.Init.NbrOfConversion = 1;
  hadc3.Init.DiscontinuousConvMode = DISABLE;
  hadc3.Init.ExternalTrigConv = ADC_EXTERNALTRIG_T1_TRGO2;
  hadc3.Init.ExternalTrigConvEdge = ADC_EXTERNALTRIGCONVEDGE_RISING;
  hadc3.Init.ConversionDataManagement = ADC_CONVERSIONDATA_DMA_CIRCULAR;
  hadc3.Init.Overrun = ADC_OVR_DATA_PRESERVED;
  hadc3.Init.LeftBitShift = ADC_LEFTBITSHIFT_NONE;
  hadc3.Init.OversamplingMode = DISABLE;
  if (HAL_ADC_Init(&hadc3) != HAL_OK)
  {
    Error_Handler();
  }
  /** Configure Regular Channel
  */
  sConfig.Channel = ADC_CHANNEL_1;
  sConfig.Rank = ADC_REGULAR_RANK_1;
  sConfig.SamplingTime = ADC_SAMPLETIME_1CYCLE_5;
  sConfig.SingleDiff = ADC_SINGLE_ENDED;
  sConfig.OffsetNumber = ADC_OFFSET_NONE;
  sConfig.Offset = 0;
  sConfig.OffsetSignedSaturation = DISABLE;
  if (HAL_ADC_ConfigChannel(&hadc3, &sConfig) != HAL_OK)
  {
    Error_Handler();
  }

}

static void MX_DAC1_Init(void)
{

  DAC_ChannelConfTypeDef sConfig = {0};

  /** DAC Initialization
  */
  hdac1.Instance = DAC1;
  if (HAL_DAC_Init(&hdac1) != HAL_OK)
  {
    Error_Handler();
  }
  /** DAC channel OUT1 config
  */
  sConfig.DAC_SampleAndHold = DAC_SAMPLEANDHOLD_DISABLE;
  sConfig.DAC_Trigger = DAC_TRIGGER_T2_TRGO;
  sConfig.DAC_OutputBuffer = DAC_OUTPUTBUFFER_ENABLE;
  sConfig.DAC_ConnectOnChipPeripheral = DAC_CHIPCONNECT_DISABLE;
  sConfig.DAC_UserTrimming = DAC_TRIMMING_FACTORY;
  if (HAL_DAC_ConfigChannel(&hdac1, &sConfig, DAC_CHANNEL_1) != HAL_OK)
  {
    Error_Handler();
  }
  /** DAC channel OUT2 config
  */
  if (HAL_DAC_ConfigChannel(&hdac1, &sConfig, DAC_CHANNEL_2) != HAL_OK)
  {
    Error_Handler();
  }

}

static void MX_ETH_Init(void)
{

   static uint8_t MACAddr[6];

  heth.Instance = ETH;
  MACAddr[0] = 0x00;
  MACAddr[1] = 0x80;
  MACAddr[2] = 0xE1;
  MACAddr[3] = 0x00;
  MACAddr[4] = 0x00;
  MACAddr[5] = 0x00;
  heth.Init.MACAddr = &MACAddr[0];
  heth.Init.MediaInterface = HAL_ETH_RMII_MODE;
  heth.Init.TxDesc = DMATxDscrTab;
  heth.Init.RxDesc = DMARxDscrTab;
  heth.Init.RxBuffLen = 1524;

  if (HAL_ETH_Init(&heth) != HAL_OK)
  {
    Error_Handler();
  }

  memset(&TxConfig, 0 , sizeof(ETH_TxPacketConfig));
  TxConfig.Attributes = ETH_TX_PACKETS_FEATURES_CSUM | ETH_TX_PACKETS_FEATURES_CRCPAD;
  TxConfig.ChecksumCtrl = ETH_CHECKSUM_IPHDR_PAYLOAD_INSERT_PHDR_CALC;
  TxConfig.CRCPadCtrl = ETH_CRC_PAD_INSERT;

}

static void MX_TIM1_Init(void)
{

  TIM_ClockConfigTypeDef sClockSourceConfig = {0};
  TIM_MasterConfigTypeDef sMasterConfig = {0};

  /* USER CODE BEGIN TIM1_Init 1 */
  // tim clock 240 MHz
  /* USER CODE END TIM1_Init 1 */
  htim1.Instance = TIM1;
  htim1.Init.Prescaler = 0;
  htim1.Init.CounterMode = TIM_COUNTERMODE_UP;
  htim1.Init.Period = 770;
  htim1.Init.ClockDivision = TIM_CLOCKDIVISION_DIV1;
  htim1.Init.RepetitionCounter = 0;
  htim1.Init.AutoReloadPreload = TIM_AUTORELOAD_PRELOAD_DISABLE;
  if (HAL_TIM_Base_Init(&htim1) != HAL_OK)
  {
    Error_Handler();
  }
  sClockSourceConfig.ClockSource = TIM_CLOCKSOURCE_INTERNAL;
  if (HAL_TIM_ConfigClockSource(&htim1, &sClockSourceConfig) != HAL_OK)
  {
    Error_Handler();
  }
  sMasterConfig.MasterOutputTrigger = TIM_TRGO_UPDATE;
  sMasterConfig.MasterOutputTrigger2 = TIM_TRGO2_UPDATE;
  sMasterConfig.MasterSlaveMode = TIM_MASTERSLAVEMODE_DISABLE;
  if (HAL_TIMEx_MasterConfigSynchronization(&htim1, &sMasterConfig) != HAL_OK)
  {
    Error_Handler();
  }

}

static void MX_TIM2_Init(void)
{

  TIM_ClockConfigTypeDef sClockSourceConfig = {0};
  TIM_MasterConfigTypeDef sMasterConfig = {0};

  htim2.Instance = TIM2;
  htim2.Init.Prescaler = 0;
  htim2.Init.CounterMode = TIM_COUNTERMODE_UP;
  htim2.Init.Period = 770;
  htim2.Init.ClockDivision = TIM_CLOCKDIVISION_DIV1;
  htim2.Init.AutoReloadPreload = TIM_AUTORELOAD_PRELOAD_DISABLE;
  if (HAL_TIM_Base_Init(&htim2) != HAL_OK)
  {
    Error_Handler();
  }
  sClockSourceConfig.ClockSource = TIM_CLOCKSOURCE_INTERNAL;
  if (HAL_TIM_ConfigClockSource(&htim2, &sClockSourceConfig) != HAL_OK)
  {
    Error_Handler();
  }
  sMasterConfig.MasterOutputTrigger = TIM_TRGO_UPDATE;
  sMasterConfig.MasterSlaveMode = TIM_MASTERSLAVEMODE_DISABLE;
  if (HAL_TIMEx_MasterConfigSynchronization(&htim2, &sMasterConfig) != HAL_OK)
  {
    Error_Handler();
  }

}

static void MX_USART3_UART_Init(void)
{

  huart3.Instance = USART3;
  huart3.Init.BaudRate = 115200;
  huart3.Init.WordLength = UART_WORDLENGTH_8B;
  huart3.Init.StopBits = UART_STOPBITS_1;
  huart3.Init.Parity = UART_PARITY_NONE;
  huart3.Init.Mode = UART_MODE_TX_RX;
  huart3.Init.HwFlowCtl = UART_HWCONTROL_NONE;
  huart3.Init.OverSampling = UART_OVERSAMPLING_16;
  huart3.Init.OneBitSampling = UART_ONE_BIT_SAMPLE_DISABLE;
  huart3.Init.ClockPrescaler = UART_PRESCALER_DIV1;
  huart3.AdvancedInit.AdvFeatureInit = UART_ADVFEATURE_NO_INIT;
  if (HAL_UART_Init(&huart3) != HAL_OK)
  {
    Error_Handler();
  }
  if (HAL_UARTEx_SetTxFifoThreshold(&huart3, UART_TXFIFO_THRESHOLD_1_8) != HAL_OK)
  {
    Error_Handler();
  }
  if (HAL_UARTEx_SetRxFifoThreshold(&huart3, UART_RXFIFO_THRESHOLD_1_8) != HAL_OK)
  {
    Error_Handler();
  }
  if (HAL_UARTEx_DisableFifoMode(&huart3) != HAL_OK)
  {
    Error_Handler();
  }

}

static void MX_DMA_Init(void)
{

  /* DMA controller clock enable */
  __HAL_RCC_DMA1_CLK_ENABLE();
  __HAL_RCC_DMA2_CLK_ENABLE();

  /* DMA interrupt init */
  /* DMA1_Stream0_IRQn interrupt configuration */
  HAL_NVIC_SetPriority(DMA1_Stream0_IRQn, 0, 0);
  HAL_NVIC_EnableIRQ(DMA1_Stream0_IRQn);
  /* DMA1_Stream1_IRQn interrupt configuration */
  HAL_NVIC_SetPriority(DMA1_Stream1_IRQn, 0, 0);
  HAL_NVIC_EnableIRQ(DMA1_Stream1_IRQn);
  /* DMA2_Stream0_IRQn interrupt configuration */
  HAL_NVIC_SetPriority(DMA2_Stream0_IRQn, 0, 0);
  HAL_NVIC_EnableIRQ(DMA2_Stream0_IRQn);
  /* DMA2_Stream1_IRQn interrupt configuration */
  HAL_NVIC_SetPriority(DMA2_Stream1_IRQn, 0, 0);
  HAL_NVIC_EnableIRQ(DMA2_Stream1_IRQn);
  /* DMAMUX1_OVR_IRQn interrupt configuration */
  HAL_NVIC_SetPriority(DMAMUX1_OVR_IRQn, 0, 0);
  HAL_NVIC_EnableIRQ(DMAMUX1_OVR_IRQn);

}

static void MX_GPIO_Init(void)
{
  GPIO_InitTypeDef GPIO_InitStruct = {0};

  /* GPIO Ports Clock Enable */
  __HAL_RCC_GPIOC_CLK_ENABLE();
  __HAL_RCC_GPIOH_CLK_ENABLE();
  __HAL_RCC_GPIOA_CLK_ENABLE();
  __HAL_RCC_GPIOB_CLK_ENABLE();
  __HAL_RCC_GPIOD_CLK_ENABLE();
  __HAL_RCC_GPIOG_CLK_ENABLE();
  __HAL_RCC_GPIOE_CLK_ENABLE();

  /*Configure GPIO pin Output Level */
  HAL_GPIO_WritePin(GPIOB, LD1_Pin|LD3_Pin, GPIO_PIN_RESET);

  /*Configure GPIO pin Output Level */
  HAL_GPIO_WritePin(USB_OTG_FS_PWR_EN_GPIO_Port, USB_OTG_FS_PWR_EN_Pin, GPIO_PIN_RESET);

  /*Configure GPIO pin Output Level */
  HAL_GPIO_WritePin(LD2_GPIO_Port, LD2_Pin, GPIO_PIN_RESET);

  /*Configure GPIO pin : B1_Pin */
  GPIO_InitStruct.Pin = B1_Pin;
  GPIO_InitStruct.Mode = GPIO_MODE_INPUT;
  GPIO_InitStruct.Pull = GPIO_NOPULL;
  HAL_GPIO_Init(B1_GPIO_Port, &GPIO_InitStruct);

  /*Configure GPIO pins : LD1_Pin LD3_Pin */
  GPIO_InitStruct.Pin = LD1_Pin|LD3_Pin;
  GPIO_InitStruct.Mode = GPIO_MODE_OUTPUT_PP;
  GPIO_InitStruct.Pull = GPIO_NOPULL;
  GPIO_InitStruct.Speed = GPIO_SPEED_FREQ_LOW;
  HAL_GPIO_Init(GPIOB, &GPIO_InitStruct);

  /*Configure GPIO pin : USB_OTG_FS_PWR_EN_Pin */
  GPIO_InitStruct.Pin = USB_OTG_FS_PWR_EN_Pin;
  GPIO_InitStruct.Mode = GPIO_MODE_OUTPUT_PP;
  GPIO_InitStruct.Pull = GPIO_NOPULL;
  GPIO_InitStruct.Speed = GPIO_SPEED_FREQ_LOW;
  HAL_GPIO_Init(USB_OTG_FS_PWR_EN_GPIO_Port, &GPIO_InitStruct);

  /*Configure GPIO pin : USB_OTG_FS_OVCR_Pin */
  GPIO_InitStruct.Pin = USB_OTG_FS_OVCR_Pin;
  GPIO_InitStruct.Mode = GPIO_MODE_IT_RISING;
  GPIO_InitStruct.Pull = GPIO_NOPULL;
  HAL_GPIO_Init(USB_OTG_FS_OVCR_GPIO_Port, &GPIO_InitStruct);

  /*Configure GPIO pin : LD2_Pin */
  GPIO_InitStruct.Pin = LD2_Pin;
  GPIO_InitStruct.Mode = GPIO_MODE_OUTPUT_PP;
  GPIO_InitStruct.Pull = GPIO_NOPULL;
  GPIO_InitStruct.Speed = GPIO_SPEED_FREQ_LOW;
  HAL_GPIO_Init(LD2_GPIO_Port, &GPIO_InitStruct);

}

/* USER CODE BEGIN 4 */

void HAL_ADC_ConvCpltCallback(ADC_HandleTypeDef *hadc){
	prim = __get_PRIMASK();
	__disable_irq();
	if(hadc == &hadc1){
		memcpy(adc1_data+ADC_CONVERTED_DATA_BUFFER_SIZE/2, aADC1ConvertedData+ADC_CONVERTED_DATA_BUFFER_SIZE/2, sizeof(uint16_t)*ADC_CONVERTED_DATA_BUFFER_SIZE/2);
	    memcpy(adc3_data+ADC_CONVERTED_DATA_BUFFER_SIZE/2, aADC3ConvertedData+ADC_CONVERTED_DATA_BUFFER_SIZE/2, sizeof(uint16_t)*ADC_CONVERTED_DATA_BUFFER_SIZE/2);
	    //memcpy(adc1_data, aADC1ConvertedData, 2048*4);
	    //memcpy(adc3_data, aADC3ConvertedData, 2048*4);

	}
	if(!prim){
		__enable_irq();
	}

}
void HAL_ADC_ConvHalfCpltCallback(ADC_HandleTypeDef *hadc){
	prim = __get_PRIMASK();
	__disable_irq();

	if(hadc == &hadc1){
	  memcpy(adc1_data, aADC1ConvertedData, sizeof(uint16_t)*ADC_CONVERTED_DATA_BUFFER_SIZE/2);
	  memcpy(adc3_data, aADC3ConvertedData, sizeof(uint16_t)*ADC_CONVERTED_DATA_BUFFER_SIZE/2);
	}

	if(!prim){
		__enable_irq();
	}
}
/* Demodulates gmsk modulated signal that has been downmixed
 * startflag = signal start in adcx_data
 * signalend = singal end in adcx_data
 * demodulated_IQ = array where demodulated signal is stored.
 * */
void gmsk_demod(int startflag, int endflag, int16_t *demodulated_IQ){

	for(int i = startflag; i < endflag; i++){

		/*temp_I = -(float64_t)(adc1_data[i] - (max_val-min_val)/2) / ((max_val-min_val)/2);// cast uint16 value to float64_t
		temp_Q = -(float64_t)(adc3_data[i] - (max_val-min_val)/2) / ((max_val-min_val)/2);*/

		temp_I = -(float64_t)(adc1_datafir[i]) / UINT16_OFFSET;// (UINT16_OFFSET);// cast int16 value to float64_t
		temp_Q = -(float64_t)(adc3_datafir[i]) / UINT16_OFFSET;// (UINT16_OFFSET);

		complex_data = (temp_I + (temp_Q * _Complex_I));
		temp_complex = complex_data * conj(prev_complex); // polar discriminator
		demodulated_IQ[i-startflag] = (int16_t)(SHORT_MAX * (atan2(cimag(temp_complex), creal(temp_complex)) / M_PI));
		prev_complex = complex_data;

	}
}
int16_t swap_bytes(int16_t data){
	data = data+UINT16_OFFSET;
	return data;
}
/* USER CODE END 4 */

void Error_Handler(void)
{
  __disable_irq();
  while (1)
  {
  }
}
